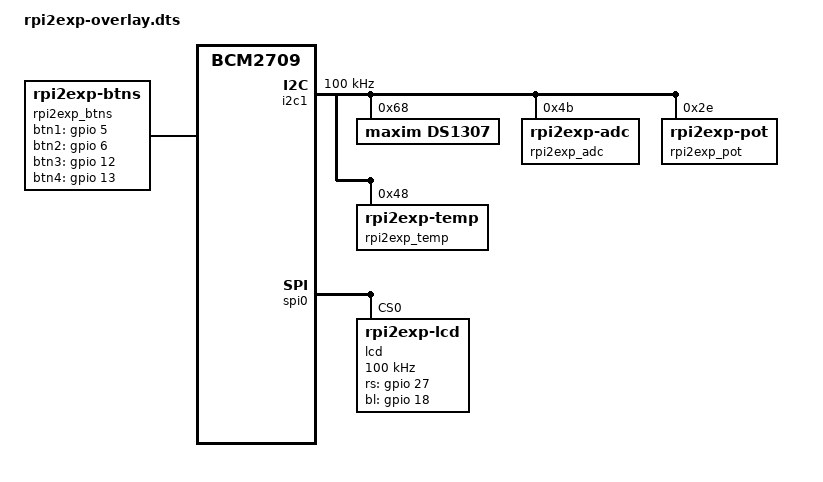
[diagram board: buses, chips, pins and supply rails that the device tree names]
// Definitions for the rpi2exp expansion board
/dts-v1/;
/plugin/;

/ {
	compatible = "brcm,bcm2709";

	fragment@0 {
		target = <&i2c1>;
		__overlay__ {
			#address-cells = <1>;
			#size-cells = <0>;
			clock-frequency = <100000>;
			status = "okay";

			// RTC
			ds1307@68 {
				compatible = "maxim,ds1307";
				reg = <0x68>;
				status = "okay";
			};
			
			rpi2exp_adc@4b {
				compatible = "rpi2exp-adc";
				reg = <0x4b>;
				status = "okay";
			};
			
			rpi2exp_pot@2e {
				compatible = "rpi2exp-pot";
				reg = <0x2e>;
				status = "okay";
			};
			
			rpi2exp_temp@48 {
				compatible = "rpi2exp-temp";
				reg = <0x48>;
				status = "okay";
			};
		};
	};
	
	fragment@1 {
		target-path = "/";
		__overlay__ {
			// LEDs
			rpi2exp_leds {
				compatible = "rpi2exp-leds";
				status = "okay";
				led1-gpio = <&gpio 22 0>;
				led2-gpio = <&gpio 23 0>;
				led3-gpio = <&gpio 24 0>;
				led4-gpio = <&gpio 25 0>;
			};
			// BTNs
			rpi2exp_btns {
				compatible = "rpi2exp-btns";
				status = "okay";
				btn1-gpio = <&gpio 5 0>;
				btn2-gpio = <&gpio 6 0>;
				btn3-gpio = <&gpio 12 0>;
				btn4-gpio = <&gpio 13 0>;
			};
		};
	};

  	fragment@2 {
		target = <&spi0>;
		__overlay__ {
			#address-cells = <1>;
			#size-cells = <0>;
			status = "okay";
		  
			spidev@0{
				status = "disabled";
			};

			spidev@1{
				status = "disabled";
			};
		  
			// LCD
			lcd@0{
				compatible = "rpi2exp-lcd";
				status = "okay";
				reg = <0>;	/* CE0 */
				spi-max-frequency = <100000>;
				rs-gpio = <&gpio 27 0>;
				bl-gpio = <&gpio 18 0>;
			};
		};
	};

};
